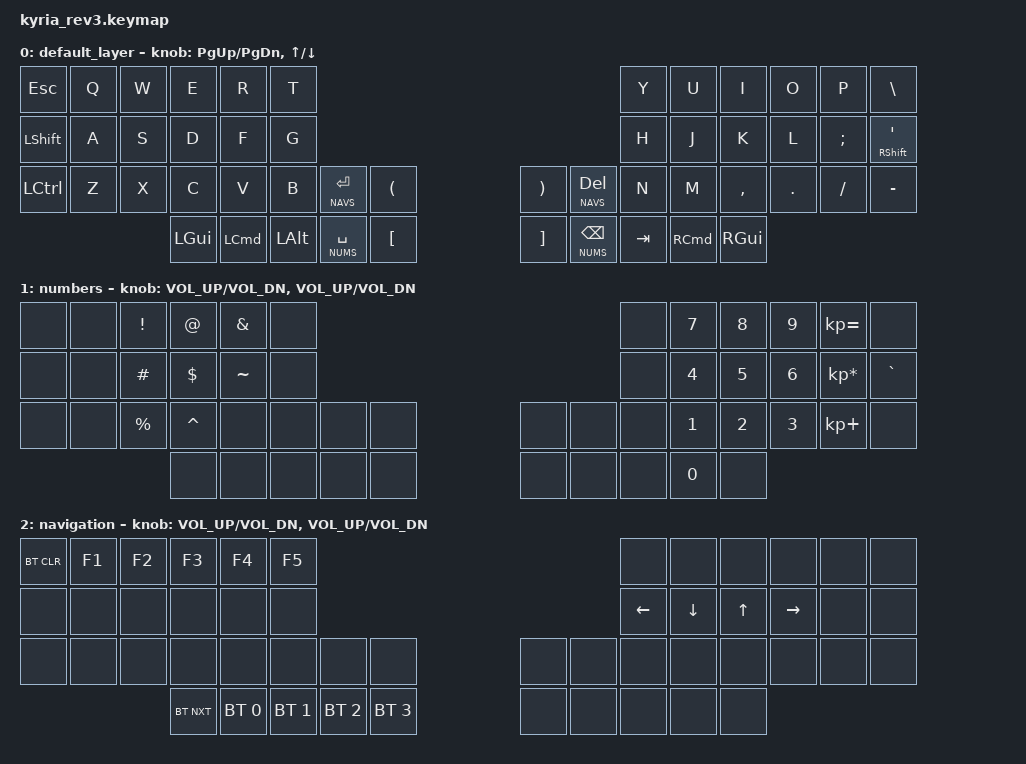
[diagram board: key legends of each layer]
/*
 * Copyright (c) 2023 The ZMK Contributors
 *
 * SPDX-License-Identifier: MIT
 *
 */

#include <behaviors.dtsi>
#include <dt-bindings/zmk/keys.h>
#include <dt-bindings/zmk/bt.h>


/* Uncomment this block if using RGB
&led_strip {
    chain-length = <6>;
    // chain-length = <31>; // Uncomment if using both per-key and underglow LEDs
    // chain-length = <25>; // Uncomment if using only per-key LEDs.
};
 */

#define DEFAULT 0
#define NUMS    1
#define NAVS    2

/ {
    keymap {
        compatible = "zmk,keymap";

        default_layer {
            // ---------------------------------------------------------------------------------------------------------------------------------
            // |  ESC  |  Q  |  W  |  E   |  R     |  T     |                                                                              |  Y     |  U      |  I    |  O   |   P      |   \       |
            // | SHIFT |  A  |  S  |  D   |  F     |  G     |                                                                              |  H     |  J      |  K    |  L   |   ;      |  SHIFT '  |
            // |  CTL  |  Z  |  X  |  C   |  V     |  B     |  RET NAVS      |   (                |  |       )             |   DEL NAVS    |  N     |  M      |  ,    |  .   |   /      |   - _     |
            //                     | GUI  | CMD    |  ALT   |  SPACE NUMS    |   [{               |  |       }]            |   BSP NUMS    |  TAB   | CMD     |  GUI  |
            bindings = <
            &kp ESC   &kp Q &kp W &kp E    &kp R    &kp T                                                                                   &kp Y    &kp U    &kp I     &kp O   &kp P    &kp BSLH
            &kp LSHFT &kp A &kp S &kp D    &kp F    &kp G                                                                                   &kp H    &kp J    &kp K     &kp L   &kp SEMI &mt RSHIFT SQT
            &kp LCTRL &kp Z &kp X &kp C    &kp V    &kp B    &lt NAVS RET     &kp LEFT_PARENTHESIS    &kp RIGHT_PARENTHESIS &lt NAVS DEL    &kp N    &kp M    &kp COMMA &kp DOT &kp FSLH &kp MINUS
                                  &kp LGUI &kp LCMD &kp LALT &lt NUMS SPACE   &kp LEFT_BRACKET        &kp RIGHT_BRACKET     &lt NUMS BSPC   &kp TAB  &kp RCMD &kp RGUI
            >;

            sensor-bindings = <&inc_dec_kp PG_UP PG_DN &inc_dec_kp UP DOWN>;
        };

        numbers {
            // ---------------------------------------------------------------------------------------------------------------------------------
            // | _ | _ |  !         |  @        |  &      | _   |                           | _   |  7  |  8    |  9   |     =         |   _ |
            // | _ | _ |  #         |  $        |  ~      | _   |                           | _   |  4  |  5    |  6   |     *         |   ` |
            // | _ | _ |  %         |  ^        |  _      | _   | _   | _ |     | _   | _   | _   |  1  |  2    |  3   |     +         |   _ |
            //                      |  _        |  _      | _   | _   | _ |     | _   | _   | _   |  0  |  _    |
            bindings = <
            &none &none &kp EXCL     &kp AT_SIGN &kp AMPS  &none                             &none &kp N7 &kp N8 &kp N9 &kp KP_EQUAL    &none
            &none &none &kp HASH     &kp DOLLAR  &kp TILDE &none                             &none &kp N4 &kp N5 &kp N6 &kp KP_MULTIPLY &kp GRAVE
            &none &none &kp PERCENT  &kp CARET   &none     &none &none &none     &none &none &none &kp N1 &kp N2 &kp N3 &kp KP_PLUS     &none
                                     &none       &none     &none &none &none     &none &none &none &kp N0 &none
            >;

            sensor-bindings = <&inc_dec_kp C_VOL_UP C_VOL_DN &inc_dec_kp C_VOL_UP C_VOL_DN>;
        };

        navigation {
            // ---------------------------------------------------------------------------------------------------------------------------------
            // | BT_CLR | F1  |  F2   |  F3      |  F4        | F5         |                                         | _      |  _      |  _  |  _      |   _   | _ |
            // | _      | _   |  _    |  _       |  _         | _          |                                         | l      |  d      |  u  |  r      |   _   | _ |
            // | _      | _   |  _    |  _       |  _         | _          |   _       |  _   |          | _   | _   | _      |  _      |  _  |  _      |   _   | _ |
            //                        |  BT_NXT  |  BT0       | BT1        | BT2       | BT3  |          | _   | _   | _      |  _      |  _  |
            bindings = <
            &bt BT_CLR  &kp F1 &kp F2 &kp F3     &kp F4       &kp F5                                                  &none    &none    &none  &none     &none &none
            &none       &none  &none  &none      &none        &none                                                   &kp LEFT &kp DOWN &kp UP &kp RIGHT &none &none
            &none       &none  &none  &none      &none        &none        &none        &none             &none &none &none    &none    &none  &none     &none &none
                                      &bt BT_NXT &bt BT_SEL 0 &bt BT_SEL 1 &bt BT_SEL 2 &bt BT_SEL 3      &none &none &none    &none    &none
            >;

            sensor-bindings = <&inc_dec_kp C_VOL_UP C_VOL_DN &inc_dec_kp C_VOL_UP C_VOL_DN>;
        };

    };
};
